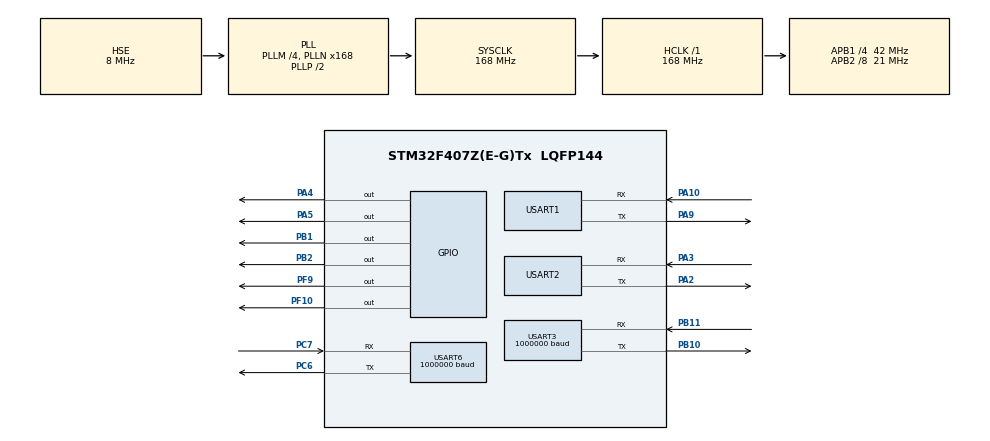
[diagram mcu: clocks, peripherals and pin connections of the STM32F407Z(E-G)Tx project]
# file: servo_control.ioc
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Mcu.Family=STM32F4
Mcu.Name=STM32F407Z(E-G)Tx
Mcu.Package=LQFP144
NVIC.PriorityGroup=NVIC_PRIORITYGROUP_4
NVIC.USART1_IRQn=true\:3\:0\:true\:false\:true\:true\:true
NVIC.USART2_IRQn=true\:2\:0\:true\:false\:true\:true\:true
NVIC.USART3_IRQn=true\:1\:0\:true\:false\:true\:true\:true
PA10.Mode=Asynchronous
PA10.Signal=USART1_RX
PA13.Mode=Serial_Wire
PA13.Signal=SYS_JTMS-SWDIO
PA14.Mode=Serial_Wire
PA14.Signal=SYS_JTCK-SWCLK
PA2.Mode=Asynchronous
PA2.Signal=USART2_TX
PA3.Mode=Asynchronous
PA3.Signal=USART2_RX
PA4.Signal=GPIO_Output
PA5.Signal=GPIO_Output
PA9.Mode=Asynchronous
PA9.Signal=USART1_TX
PB1.Signal=GPIO_Output
PB10.Mode=Asynchronous
PB10.Signal=USART3_TX
PB11.Mode=Asynchronous
PB11.Signal=USART3_RX
PB2.Signal=GPIO_Output
PC6.Mode=Asynchronous
PC6.Signal=USART6_TX
PC7.Mode=Asynchronous
PC7.Signal=USART6_RX
PF10.GPIO_PuPd=GPIO_PULLDOWN
PF10.Signal=GPIO_Output
PF9.GPIO_ModeDefaultOutputPP=GPIO_MODE_OUTPUT_PP
PF9.GPIO_PuPd=GPIO_PULLDOWN
PF9.PinState=GPIO_PIN_SET
PF9.Signal=GPIO_Output
PH0-OSC_IN.Mode=HSE-External-Oscillator
PH0-OSC_IN.Signal=RCC_OSC_IN
PH1-OSC_OUT.Mode=HSE-External-Oscillator
PH1-OSC_OUT.Signal=RCC_OSC_OUT
ProjectManager.HeapSize=0x200
ProjectManager.StackSize=0x400
ProjectManager.TargetToolchain=SW4STM32
RCC.48MHZClocksFreq_Value=84000000
RCC.AHBFreq_Value=168000000
RCC.APB1CLKDivider=RCC_HCLK_DIV4
RCC.APB1Freq_Value=42000000
RCC.APB1TimFreq_Value=84000000
RCC.APB2CLKDivider=RCC_HCLK_DIV8
RCC.APB2Freq_Value=21000000
RCC.APB2TimFreq_Value=42000000
RCC.CortexFreq_Value=168000000
RCC.HCLKFreq_Value=168000000
RCC.HSE_VALUE=8000000
RCC.HSI_VALUE=16000000
RCC.LSE_VALUE=32768
RCC.PLLM=4
RCC.PLLN=168
RCC.PLLSourceVirtual=RCC_PLLSOURCE_HSE
RCC.SYSCLKFreq_VALUE=168000000
RCC.SYSCLKSource=RCC_SYSCLKSOURCE_PLLCLK
RCC.VCOOutputFreq_Value=336000000
USART1.VirtualMode=VM_ASYNC
USART2.VirtualMode=VM_ASYNC
USART3.BaudRate=1000000
USART3.VirtualMode=VM_ASYNC
USART6.BaudRate=1000000
USART6.VirtualMode=VM_ASYNC
board=custom

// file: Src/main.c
/* USER CODE BEGIN Header */
/**
  ******************************************************************************
  * @file           : main.c
  * @brief          : Main program body
  ******************************************************************************
  * @attention
  *
  * <h2><center>&copy; Copyright (c) 2021 STMicroelectronics.
  * All rights reserved.</center></h2>
  *
  * This software component is licensed by ST under BSD 3-Clause license,
  * the "License"; You may not use this file except in compliance with the
  * License. You may obtain a copy of the License at:
  *                        opensource.org/licenses/BSD-3-Clause
  *
  ******************************************************************************
  */
/* USER CODE END Header */
#include "main.h"

/* USER CODE BEGIN Includes */
#include "retarget.h"
#include <string.h>
/* USER CODE END Includes */

UART_HandleTypeDef huart1;
UART_HandleTypeDef huart2;
UART_HandleTypeDef huart3;
UART_HandleTypeDef huart6;

/* USER CODE BEGIN PV */
/* Private variables ---------------------------------------------------------*/

/* USER CODE END PV */

void SystemClock_Config(void);

static void MX_GPIO_Init(void);

static void MX_USART1_UART_Init(void);

static void MX_USART2_UART_Init(void);

static void MX_USART3_UART_Init(void);

static void MX_USART6_UART_Init(void);

/* USER CODE BEGIN 0 */

#define RXBUFFERSIZE  256     //最大接收字节数
char RxBuffer[RXBUFFERSIZE];   //接收数据
uint8_t aRxBuffer;            //接收中断缓冲
uint8_t Uart3_Rx_Cnt = 0;        //接收缓冲计数
uint8_t USART3_RX_BUF[100];
uint8_t Rxdata = 0;

uint8_t Servo_data[13] = {0xFF, 0xFF, 0x01, 0x09, 0x03, 0x2A, 0x00, 0x08, 0x00, 0x00, 0xD0, 0x07, 0xE9};//不包含加速度控制
void Cal_com_data_STS(uint8_t id, int position, int speed) {
    uint8_t check_data;
    uint8_t sum;

    Servo_data[2] = id;
    Servo_data[6] = position & 255;
    Servo_data[7] = position >> 8;

    Servo_data[10] = speed & 255;
    Servo_data[11] = speed >> 8;

    for (int i = 2; i < 12; i++) {
        sum += Servo_data[i];
    }

    check_data = ((sum & 255) ^ 255);
    Servo_data[12] = check_data;
}

void Cal_com_data_SCS(uint8_t id, int position, int speed) {
    uint8_t check_data;
    uint8_t sum;

    Servo_data[2] = id;
    Servo_data[7] = position & 255;
    Servo_data[6] = position >> 8;

    Servo_data[11] = speed & 255;
    Servo_data[10] = speed >> 8;

    for (int i = 2; i < 12; i++) {
        sum += Servo_data[i];
    }

    check_data = ((sum & 255) ^ 255);
    Servo_data[12] = check_data;
}

//FF FF 01 0A 03 29 32 00 04 00 00 D0 07 BB  示例
uint8_t Servo_data_IncludeA[14] = {0xFF, 0xFF, 0x01, 0x0A, 0x03, 0x29, 0xFF, 0x00, 0x00, 0x00, 0x00, 0x00,
                                   0xE9};//包含加速度控制

void Cal_com_data_STS_IcludeA(uint8_t id, int position, int speed) {
    uint8_t check_data;
    uint8_t sum;

    Servo_data_IncludeA[2] = id;
    Servo_data_IncludeA[7] = position & 255;
    Servo_data_IncludeA[8] = position >> 8;

    Servo_data_IncludeA[11] = speed & 255;
    Servo_data_IncludeA[12] = speed >> 8;

    for (int i = 2; i < 13; i++) {
        sum += Servo_data_IncludeA[i];
    }

    check_data = ((sum & 255) ^ 255);
    Servo_data_IncludeA[13] = check_data;
}

//3rd_Servos all up
void Servo_action1() {
    Cal_com_data_STS_IcludeA(1, 2700, 3400);
//    HAL_Delay(100);
    HAL_UART_Transmit(&huart1, Servo_data_IncludeA, 14, 100);
    Cal_com_data_STS_IcludeA(2, 2700, 3400);
//    HAL_Delay(100);
    HAL_UART_Transmit(&huart1, Servo_data_IncludeA, 14, 100);
    Cal_com_data_STS_IcludeA(3, 2700, 3400);
//    HAL_Delay(100);
    HAL_UART_Transmit(&huart1, Servo_data_IncludeA, 14, 100);
    Cal_com_data_STS_IcludeA(4, 2700, 3400);
//    HAL_Delay(100);
    HAL_UART_Transmit(&huart1, Servo_data_IncludeA, 14, 100);
}

//3rd_Servos all down
void Servo_action2() {
    Cal_com_data_STS_IcludeA(1, 2048, 3400);
//    HAL_Delay(100);
    HAL_UART_Transmit(&huart1, Servo_data_IncludeA, 14, 100);
    Cal_com_data_STS_IcludeA(2, 2048, 3400);
//    HAL_Delay(100);
    HAL_UART_Transmit(&huart1, Servo_data_IncludeA, 14, 100);
    Cal_com_data_STS_IcludeA(3, 2048, 3400);
//    HAL_Delay(100);
    HAL_UART_Transmit(&huart1, Servo_data_IncludeA, 14, 100);
    Cal_com_data_STS_IcludeA(4, 2048, 3400);
//    HAL_Delay(100);
    HAL_UART_Transmit(&huart1, Servo_data_IncludeA, 14, 100);
}

//3rd_Servos rolls
void Servo_action3() {
    Cal_com_data_STS(1, 2048, 3400);
    HAL_UART_Transmit(&huart1, Servo_data, 13, 100);

    Cal_com_data_STS(2, 2281, 3400);
    HAL_UART_Transmit(&huart1, Servo_data, 13, 100);

    Cal_com_data_STS(3, 2700, 3400);
    HAL_UART_Transmit(&huart1, Servo_data, 13, 100);

    Cal_com_data_STS(4, 2356, 3400);
    HAL_UART_Transmit(&huart1, Servo_data, 13, 100);

    HAL_Delay(300);

    Cal_com_data_STS(1, 2048, 3400);
    HAL_UART_Transmit(&huart1, Servo_data, 13, 100);

    Cal_com_data_STS(2, 2690, 3400);
    HAL_UART_Transmit(&huart1, Servo_data, 13, 100);

    Cal_com_data_STS(3, 2700, 3400);
    HAL_UART_Transmit(&huart1, Servo_data, 13, 100);

    Cal_com_data_STS(4, 2045, 3400);
    HAL_UART_Transmit(&huart1, Servo_data, 13, 100);

    HAL_Delay(300);

    Cal_com_data_STS(1, 2665, 3400);
    HAL_UART_Transmit(&huart1, Servo_data, 13, 100);

    Cal_com_data_STS(2, 2700, 3400);
    HAL_UART_Transmit(&huart1, Servo_data, 13, 100);

    Cal_com_data_STS(3, 2066, 3400);
    HAL_UART_Transmit(&huart1, Servo_data, 13, 100);

    Cal_com_data_STS(4, 2045, 3400);
    HAL_UART_Transmit(&huart1, Servo_data, 13, 100);

    HAL_Delay(300);

    Cal_com_data_STS(1, 2501, 3400);
    HAL_UART_Transmit(&huart1, Servo_data, 13, 100);

    Cal_com_data_STS(2, 2051, 3400);
    HAL_UART_Transmit(&huart1, Servo_data, 13, 100);

    Cal_com_data_STS(3, 2066, 3400);
    HAL_UART_Transmit(&huart1, Servo_data, 13, 100);

    Cal_com_data_STS(4, 2497, 3400);
    HAL_UART_Transmit(&huart1, Servo_data, 13, 100);

    HAL_Delay(300);

    Cal_com_data_STS(1, 2048, 3400);
    HAL_UART_Transmit(&huart1, Servo_data, 13, 100);

    Cal_com_data_STS(2, 2281, 3400);
    HAL_UART_Transmit(&huart1, Servo_data, 13, 100);

    Cal_com_data_STS(3, 2700, 3400);
    HAL_UART_Transmit(&huart1, Servo_data, 13, 100);

    Cal_com_data_STS(4, 2356, 3400);
    HAL_UART_Transmit(&huart1, Servo_data, 13, 100);

}

//1st_Servos_actions  主料
void Servo_action4() {
    Cal_com_data_STS(5, 2645, 1000);
    HAL_UART_Transmit(&huart3, Servo_data, 13, 100);
    HAL_Delay(1000);

    Cal_com_data_STS(1, 3150, 2000);
    HAL_UART_Transmit(&huart3, Servo_data, 13, 100);
    HAL_Delay(1000);
    Cal_com_data_STS(1, 2048, 2000);
    HAL_UART_Transmit(&huart3, Servo_data, 13, 100);
    HAL_Delay(500);

    Cal_com_data_STS(2, 3200, 2000);
    HAL_UART_Transmit(&huart3, Servo_data, 13, 100);
    HAL_Delay(1000);
    Cal_com_data_STS(2, 2048, 2000);
    HAL_UART_Transmit(&huart3, Servo_data, 13, 100);
    HAL_Delay(500);

    Cal_com_data_STS(3, 3100, 2000);
    HAL_UART_Transmit(&huart3, Servo_data, 13, 100);
    HAL_Delay(1000);
    Cal_com_data_STS(3, 2048, 2000);
    HAL_UART_Transmit(&huart3, Servo_data, 13, 100);
    HAL_Delay(500);

    Cal_com_data_STS(5, 2825, 2000);
    HAL_UART_Transmit(&huart3, Servo_data, 13, 100);
    HAL_Delay(800);

    Cal_com_data_STS(4, 3150, 2000);
    HAL_UART_Transmit(&huart3, Servo_data, 13, 100);
    HAL_Delay(1000);

    Cal_com_data_STS(4, 2048, 2000);
    HAL_UART_Transmit(&huart3, Servo_data, 13, 100);
    HAL_Delay(500);

    Cal_com_data_STS(5, 2048, 1000);
    HAL_UART_Transmit(&huart3, Servo_data, 13, 100);
    HAL_Delay(100);

}

//1st_Servos_actions  主料
//void Servo_action4() {
//    Cal_com_data_STS(5, 2645, 1000);
//    HAL_UART_Transmit(&huart1, Servo_data, 13, 100);
//    HAL_Delay(1000);
//
//    Cal_com_data_STS(1, 3150, 2000);
//    HAL_UART_Transmit(&huart1, Servo_data, 13, 100);
//    HAL_Delay(500);
//    Cal_com_data_STS(1, 2048, 2000);
//    HAL_UART_Transmit(&huart1, Servo_data, 13, 100);
//    HAL_Delay(100);
//
//    Cal_com_data_STS(2, 3200, 2000);
//    HAL_UART_Transmit(&huart1, Servo_data, 13, 100);
//    HAL_Delay(500);
//    Cal_com_data_STS(2, 2048, 2000);
//    HAL_UART_Transmit(&huart1, Servo_data, 13, 100);
//    HAL_Delay(100);
//
//    Cal_com_data_STS(3, 3100, 2000);
//    HAL_UART_Transmit(&huart1, Servo_data, 13, 100);
//    HAL_Delay(500);
//    Cal_com_data_STS(3, 2048, 2000);
//    HAL_UART_Transmit(&huart1, Servo_data, 13, 100);
//    HAL_Delay(100);
//
//    Cal_com_data_STS(5, 3118, 2000);
//    HAL_UART_Transmit(&huart1, Servo_data, 13, 100);
//    HAL_Delay(500);
//
//    Cal_com_data_STS(4, 3150, 2000);
//    HAL_UART_Transmit(&huart1, Servo_data, 13, 100);
//    HAL_Delay(500);
//
//    Cal_com_data_STS(4, 2048, 2000);
//    HAL_UART_Transmit(&huart1, Servo_data, 13, 100);
//    HAL_Delay(100);
//    Cal_com_data_STS(5, 2048, 1000);
//    HAL_UART_Transmit(&huart1, Servo_data, 13, 100);
//    HAL_Delay(100);
//
//}

//2nd_Servos_actions  辅料
void Servo_action5() {
    Cal_com_data_STS(1, 2630, 2000);
    HAL_UART_Transmit(&huart6, Servo_data, 13, 100);
    HAL_Delay(1000);

    Cal_com_data_SCS(2, 950, 2000);
    HAL_UART_Transmit(&huart6, Servo_data, 13, 100);
    HAL_Delay(500);
    Cal_com_data_SCS(2, 100, 2000);
    HAL_UART_Transmit(&huart6, Servo_data, 13, 100);
    HAL_Delay(500);
    Cal_com_data_SCS(2, 950, 2000);
    HAL_UART_Transmit(&huart6, Servo_data, 13, 100);
    HAL_Delay(500);
    Cal_com_data_SCS(2, 100, 2000);
    HAL_UART_Transmit(&huart6, Servo_data, 13, 100);
    HAL_Delay(1000);

    Cal_com_data_SCS(3, 950, 2000);
    HAL_UART_Transmit(&huart6, Servo_data, 13, 100);
    HAL_Delay(500);
    Cal_com_data_SCS(3, 100, 2000);
    HAL_UART_Transmit(&huart6, Servo_data, 13, 100);
    HAL_Delay(500);
    Cal_com_data_SCS(3, 950, 2000);
    HAL_UART_Transmit(&huart6, Servo_data, 13, 100);
    HAL_Delay(500);
    Cal_com_data_SCS(3, 100, 2000);
    HAL_UART_Transmit(&huart6, Servo_data, 13, 100);
    HAL_Delay(1000);

    Cal_com_data_SCS(4, 950, 2000);
    HAL_UART_Transmit(&huart6, Servo_data, 13, 100);
    HAL_Delay(500);
    Cal_com_data_SCS(4, 100, 2000);
    HAL_UART_Transmit(&huart6, Servo_data, 13, 100);
    HAL_Delay(500);
    Cal_com_data_SCS(4, 950, 2000);
    HAL_UART_Transmit(&huart6, Servo_data, 13, 100);
    HAL_Delay(500);
    Cal_com_data_SCS(4, 100, 2000);
    HAL_UART_Transmit(&huart6, Servo_data, 13, 100);
    HAL_Delay(1000);

    Cal_com_data_SCS(5, 950, 2000);
    HAL_UART_Transmit(&huart6, Servo_data, 13, 100);
    HAL_Delay(500);
    Cal_com_data_SCS(5, 100, 2000);
    HAL_UART_Transmit(&huart6, Servo_data, 13, 100);
    HAL_Delay(500);
    Cal_com_data_SCS(5, 950, 2000);
    HAL_UART_Transmit(&huart6, Servo_data, 13, 100);
    HAL_Delay(500);
    Cal_com_data_SCS(5, 100, 2000);
    HAL_UART_Transmit(&huart6, Servo_data, 13, 100);
    HAL_Delay(1000);

    HAL_GPIO_WritePin(GPIOA, GPIO_PIN_4, GPIO_PIN_SET);
    HAL_Delay(1000);
    HAL_GPIO_WritePin(GPIOA, GPIO_PIN_4, GPIO_PIN_RESET);

    HAL_GPIO_WritePin(GPIOA, GPIO_PIN_5, GPIO_PIN_SET);
    HAL_Delay(1000);
    HAL_GPIO_WritePin(GPIOA, GPIO_PIN_5, GPIO_PIN_RESET);

    HAL_GPIO_WritePin(GPIOB, GPIO_PIN_1, GPIO_PIN_SET);
    HAL_Delay(1000);
    HAL_GPIO_WritePin(GPIOB, GPIO_PIN_1, GPIO_PIN_RESET);

    HAL_GPIO_WritePin(GPIOB, GPIO_PIN_2, GPIO_PIN_SET);
    HAL_Delay(1000);
    HAL_GPIO_WritePin(GPIOB, GPIO_PIN_2, GPIO_PIN_RESET);

    Cal_com_data_STS(1, 2048, 1000);
    HAL_UART_Transmit(&huart6, Servo_data, 13, 100);
    HAL_Delay(300);

}

void set_up() {
    //颠锅机构初始化
    Cal_com_data_STS(1, 2048, 2000);
    HAL_UART_Transmit(&huart1, Servo_data, 13, 100);
    HAL_Delay(100);

    Cal_com_data_STS(2, 2048, 2000);
    HAL_UART_Transmit(&huart1, Servo_data, 13, 100);
    HAL_Delay(100);

    Cal_com_data_STS(3, 2048, 2000);
    HAL_UART_Transmit(&huart1, Servo_data, 13, 100);
    HAL_Delay(100);

    Cal_com_data_STS(4, 2048, 2000);
    HAL_UART_Transmit(&huart1, Servo_data, 13, 100);
    HAL_Delay(100);

    //主料机构初始化
    Cal_com_data_STS(1, 2048, 2000);
    HAL_UART_Transmit(&huart3, Servo_data, 13, 100);
    HAL_Delay(100);

    Cal_com_data_STS(2, 2048, 2000);
    HAL_UART_Transmit(&huart3, Servo_data, 13, 100);
    HAL_Delay(100);

    Cal_com_data_STS(3, 2048, 2000);
    HAL_UART_Transmit(&huart3, Servo_data, 13, 100);
    HAL_Delay(100);

    Cal_com_data_STS(4, 2048, 2000);
    HAL_UART_Transmit(&huart3, Servo_data, 13, 100);
    HAL_Delay(100);

    Cal_com_data_STS(5, 2048, 1000);
    HAL_UART_Transmit(&huart3, Servo_data, 13, 100);
    HAL_Delay(100);

    //辅料机构初始化
    Cal_com_data_STS(1, 2048, 2000);
    HAL_UART_Transmit(&huart6, Servo_data, 13, 100);
    HAL_Delay(100);

    Cal_com_data_SCS(2, 100, 2000);
    HAL_UART_Transmit(&huart6, Servo_data, 13, 100);
    HAL_Delay(100);

    Cal_com_data_SCS(3, 100, 2000);
    HAL_UART_Transmit(&huart6, Servo_data, 13, 100);
    HAL_Delay(100);

    Cal_com_data_SCS(4, 100, 2000);
    HAL_UART_Transmit(&huart6, Servo_data, 13, 100);
    HAL_Delay(100);

    Cal_com_data_SCS(5, 100, 1000);
    HAL_UART_Transmit(&huart6, Servo_data, 13, 100);
    HAL_Delay(100);

}

/* USER CODE END 0 */

int main(void) {

    /* MCU Configuration--------------------------------------------------------*/

    /* Reset of all peripherals, Initializes the Flash interface and the Systick. */
    HAL_Init();

    /* USER CODE BEGIN Init */
    RetargetInit(&huart1);
    HAL_UART_Receive_IT(&huart2, (uint8_t *) &aRxBuffer, 1);
    /* USER CODE END Init */

    /* Configure the system clock */
    SystemClock_Config();

    /* Initialize all configured peripherals */
    MX_GPIO_Init();
    MX_USART1_UART_Init();
    MX_USART2_UART_Init();
    MX_USART3_UART_Init();
    MX_USART6_UART_Init();
    /* USER CODE BEGIN 2 */

    //FF FF 01 09 03 2A 00 08 00 00 D0 07 E9	2048
    //uint8_t data[14]={0xFF,0xFF,0x01,0x0A,0x03,0x29,0x32,0xD8,0x0E,0x00,0x00,0xD0,0x07,0xD9};//3800
    //HAL_UART_Transmit(&huart1, insruction(1, 50, 3000, 1000), 14, 100);

    /* USER CODE END 2 */

    /* Infinite loop */
    /* USER CODE BEGIN WHILE */
    HAL_UART_Receive_IT(&huart2, USART3_RX_BUF, 1);
    set_up();
    //HAL_UART_Transmit(&huart1, USART3_RX_BUF, sizeof(USART3_RX_BUF), 100);

    while (1) {
        /* USER CODE END WHILE */

        /* USER CODE BEGIN 3 */
//        Servo_action1();
//        HAL_Delay(2000);
//        Servo_action2();
//        HAL_Delay(2000);
//        Servo_action3();
//        HAL_Delay(2000);

        while (Rxdata) {
            if (Rxdata == 3) {
                //颠锅机构
                Servo_action1();
                HAL_Delay(500);
                Servo_action2();
                HAL_Delay(500);
                Servo_action1();
                HAL_Delay(500);
                Servo_action2();//上下上下归位
                Servo_action1();
                HAL_Delay(500);
                Servo_action2();
                HAL_Delay(500);
                Servo_action1();
                HAL_Delay(500);
                Servo_action2();//上下上下归位

                HAL_Delay(300);

                Servo_action3();
                HAL_Delay(500);
                Servo_action3();
                Servo_action2();//翻滚归位

                Rxdata = 0;
            }
            if (Rxdata == 1) {
                //主料机构
                Servo_action4();
                Rxdata = 0;
            }

            if (Rxdata == 2) {
                //辅料机构
                Servo_action5();
                Rxdata = 0;
            }
        }
    }
    /* USER CODE END 3 */
}

void SystemClock_Config(void) {
    RCC_OscInitTypeDef RCC_OscInitStruct = {0};
    RCC_ClkInitTypeDef RCC_ClkInitStruct = {0};

    /** Configure the main internal regulator output voltage
    */
    __HAL_RCC_PWR_CLK_ENABLE();
    __HAL_PWR_VOLTAGESCALING_CONFIG(PWR_REGULATOR_VOLTAGE_SCALE1);
    /** Initializes the RCC Oscillators according to the specified parameters
    * in the RCC_OscInitTypeDef structure.
    */
    RCC_OscInitStruct.OscillatorType = RCC_OSCILLATORTYPE_HSE;
    RCC_OscInitStruct.HSEState = RCC_HSE_ON;
    RCC_OscInitStruct.PLL.PLLState = RCC_PLL_ON;
    RCC_OscInitStruct.PLL.PLLSource = RCC_PLLSOURCE_HSE;
    RCC_OscInitStruct.PLL.PLLM = 4;
    RCC_OscInitStruct.PLL.PLLN = 168;
    RCC_OscInitStruct.PLL.PLLP = RCC_PLLP_DIV2;
    RCC_OscInitStruct.PLL.PLLQ = 4;
    if (HAL_RCC_OscConfig(&RCC_OscInitStruct) != HAL_OK) {
        Error_Handler();
    }
    /** Initializes the CPU, AHB and APB buses clocks
    */
    RCC_ClkInitStruct.ClockType = RCC_CLOCKTYPE_HCLK | RCC_CLOCKTYPE_SYSCLK
                                  | RCC_CLOCKTYPE_PCLK1 | RCC_CLOCKTYPE_PCLK2;
    RCC_ClkInitStruct.SYSCLKSource = RCC_SYSCLKSOURCE_PLLCLK;
    RCC_ClkInitStruct.AHBCLKDivider = RCC_SYSCLK_DIV1;
    RCC_ClkInitStruct.APB1CLKDivider = RCC_HCLK_DIV4;
    RCC_ClkInitStruct.APB2CLKDivider = RCC_HCLK_DIV8;

    if (HAL_RCC_ClockConfig(&RCC_ClkInitStruct, FLASH_LATENCY_5) != HAL_OK) {
        Error_Handler();
    }
}

static void MX_USART1_UART_Init(void) {

    huart1.Instance = USART1;
    huart1.Init.BaudRate = 115200;
    huart1.Init.WordLength = UART_WORDLENGTH_8B;
    huart1.Init.StopBits = UART_STOPBITS_1;
    huart1.Init.Parity = UART_PARITY_NONE;
    huart1.Init.Mode = UART_MODE_TX_RX;
    huart1.Init.HwFlowCtl = UART_HWCONTROL_NONE;
    huart1.Init.OverSampling = UART_OVERSAMPLING_16;
    if (HAL_UART_Init(&huart1) != HAL_OK) {
        Error_Handler();
    }

}

static void MX_USART2_UART_Init(void) {

    huart2.Instance = USART2;
    huart2.Init.BaudRate = 115200;
    huart2.Init.WordLength = UART_WORDLENGTH_8B;
    huart2.Init.StopBits = UART_STOPBITS_1;
    huart2.Init.Parity = UART_PARITY_NONE;
    huart2.Init.Mode = UART_MODE_TX_RX;
    huart2.Init.HwFlowCtl = UART_HWCONTROL_NONE;
    huart2.Init.OverSampling = UART_OVERSAMPLING_16;
    if (HAL_UART_Init(&huart2) != HAL_OK) {
        Error_Handler();
    }

}

static void MX_USART3_UART_Init(void) {

    huart3.Instance = USART3;
    huart3.Init.BaudRate = 1000000;
    huart3.Init.WordLength = UART_WORDLENGTH_8B;
    huart3.Init.StopBits = UART_STOPBITS_1;
    huart3.Init.Parity = UART_PARITY_NONE;
    huart3.Init.Mode = UART_MODE_TX_RX;
    huart3.Init.HwFlowCtl = UART_HWCONTROL_NONE;
    huart3.Init.OverSampling = UART_OVERSAMPLING_16;
    if (HAL_UART_Init(&huart3) != HAL_OK) {
        Error_Handler();
    }

}

static void MX_USART6_UART_Init(void) {

    huart6.Instance = USART6;
    huart6.Init.BaudRate = 1000000;
    huart6.Init.WordLength = UART_WORDLENGTH_8B;
    huart6.Init.StopBits = UART_STOPBITS_1;
    huart6.Init.Parity = UART_PARITY_NONE;
    huart6.Init.Mode = UART_MODE_TX_RX;
    huart6.Init.HwFlowCtl = UART_HWCONTROL_NONE;
    huart6.Init.OverSampling = UART_OVERSAMPLING_16;
    if (HAL_UART_Init(&huart6) != HAL_OK) {
        Error_Handler();
    }

}

static void MX_GPIO_Init(void) {
    GPIO_InitTypeDef GPIO_InitStruct = {0};

    /* GPIO Ports Clock Enable */
    __HAL_RCC_GPIOF_CLK_ENABLE();
    __HAL_RCC_GPIOH_CLK_ENABLE();
    __HAL_RCC_GPIOA_CLK_ENABLE();
    __HAL_RCC_GPIOB_CLK_ENABLE();
    __HAL_RCC_GPIOC_CLK_ENABLE();

    /*Configure GPIO pin Output Level */
    HAL_GPIO_WritePin(GPIOF, GPIO_PIN_9, GPIO_PIN_SET);

    /*Configure GPIO pin Output Level */
    HAL_GPIO_WritePin(GPIOF, GPIO_PIN_10, GPIO_PIN_RESET);

    /*Configure GPIO pin Output Level */
    HAL_GPIO_WritePin(GPIOA, GPIO_PIN_4 | GPIO_PIN_5, GPIO_PIN_RESET);

    /*Configure GPIO pin Output Level */
    HAL_GPIO_WritePin(GPIOB, GPIO_PIN_1 | GPIO_PIN_2, GPIO_PIN_RESET);

    /*Configure GPIO pins : PF9 PF10 */
    GPIO_InitStruct.Pin = GPIO_PIN_9 | GPIO_PIN_10;
    GPIO_InitStruct.Mode = GPIO_MODE_OUTPUT_PP;
    GPIO_InitStruct.Pull = GPIO_PULLDOWN;
    GPIO_InitStruct.Speed = GPIO_SPEED_FREQ_LOW;
    HAL_GPIO_Init(GPIOF, &GPIO_InitStruct);

    /*Configure GPIO pins : PA4 PA5 */
    GPIO_InitStruct.Pin = GPIO_PIN_4 | GPIO_PIN_5;
    GPIO_InitStruct.Mode = GPIO_MODE_OUTPUT_PP;
    GPIO_InitStruct.Pull = GPIO_NOPULL;
    GPIO_InitStruct.Speed = GPIO_SPEED_FREQ_LOW;
    HAL_GPIO_Init(GPIOA, &GPIO_InitStruct);

    /*Configure GPIO pins : PB1 PB2 */
    GPIO_InitStruct.Pin = GPIO_PIN_1 | GPIO_PIN_2;
    GPIO_InitStruct.Mode = GPIO_MODE_OUTPUT_PP;
    GPIO_InitStruct.Pull = GPIO_NOPULL;
    GPIO_InitStruct.Speed = GPIO_SPEED_FREQ_LOW;
    HAL_GPIO_Init(GPIOB, &GPIO_InitStruct);

}

/* USER CODE BEGIN 4 */
void HAL_UART_RxCpltCallback(UART_HandleTypeDef *huart) {

    if (huart->Instance == USART2) {
//        Rxdata = RxBuffer[0];
//        printf("%02x", RxBuffer[0]);
        //HAL_UART_Transmit(&huart1, USART3_RX_BUF, 1, 100);//串口1发送接收buff里的东西
        printf("%x", USART3_RX_BUF[0]);
        Rxdata = USART3_RX_BUF[0];
        HAL_UART_Receive_IT(&huart2, USART3_RX_BUF, 1);    //重新开启串口3接收中断
    }
}

/* USER CODE END 4 */

void Error_Handler(void) {
    __disable_irq();
    while (1) {
    }
}

/************************ (C) COPYRIGHT STMicroelectronics *****END OF FILE****/
